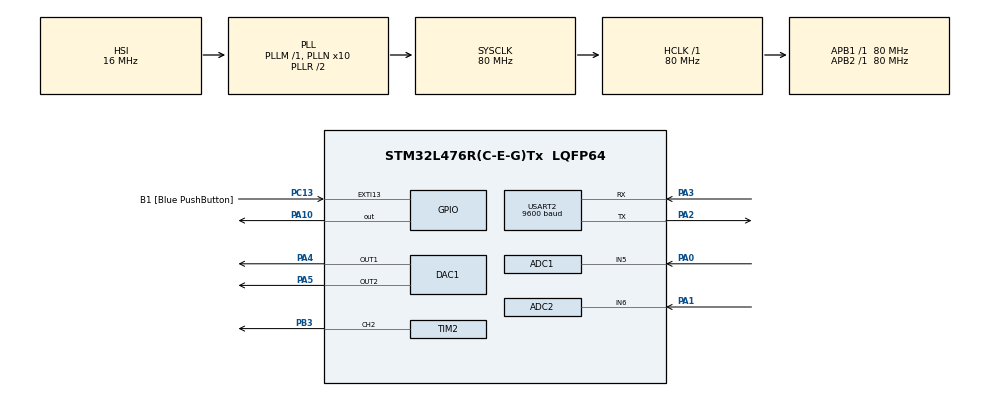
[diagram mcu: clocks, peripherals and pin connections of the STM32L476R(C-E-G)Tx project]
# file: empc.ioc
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ADC1.Channel-0\#ChannelRegularConversion=ADC_CHANNEL_5
ADC1.ContinuousConvMode=ENABLE
ADC1.DMAContinuousRequests=ENABLE
ADC1.NbrOfConversion=1
ADC1.NbrOfConversionFlag=1
ADC1.OffsetNumber-0\#ChannelRegularConversion=ADC_OFFSET_NONE
ADC1.Rank-0\#ChannelRegularConversion=1
ADC1.SamplingTime-0\#ChannelRegularConversion=ADC_SAMPLETIME_92CYCLES_5
ADC1.master=1
ADC2.Channel-0\#ChannelRegularConversion=ADC_CHANNEL_6
ADC2.ContinuousConvMode=ENABLE
ADC2.DMAContinuousRequests=ENABLE
ADC2.NbrOfConversionFlag=1
ADC2.OffsetNumber-0\#ChannelRegularConversion=ADC_OFFSET_NONE
ADC2.Rank-0\#ChannelRegularConversion=1
ADC2.SamplingTime-0\#ChannelRegularConversion=ADC_SAMPLETIME_92CYCLES_5
DAC1.DAC_Channel-DAC_OUT2=DAC_CHANNEL_2
Dma.ADC1.0.Direction=DMA_PERIPH_TO_MEMORY
Dma.ADC1.0.Instance=DMA1_Channel1
Dma.ADC1.0.MemDataAlignment=DMA_MDATAALIGN_HALFWORD
Dma.ADC1.0.MemInc=DMA_MINC_ENABLE
Dma.ADC1.0.Mode=DMA_CIRCULAR
Dma.ADC1.0.PeriphDataAlignment=DMA_PDATAALIGN_HALFWORD
Dma.ADC1.0.PeriphInc=DMA_PINC_DISABLE
Dma.ADC1.0.Priority=DMA_PRIORITY_LOW
Dma.ADC2.1.Direction=DMA_PERIPH_TO_MEMORY
Dma.ADC2.1.Instance=DMA1_Channel2
Dma.ADC2.1.MemDataAlignment=DMA_MDATAALIGN_HALFWORD
Dma.ADC2.1.MemInc=DMA_MINC_ENABLE
Dma.ADC2.1.Mode=DMA_CIRCULAR
Dma.ADC2.1.PeriphDataAlignment=DMA_PDATAALIGN_HALFWORD
Dma.ADC2.1.PeriphInc=DMA_PINC_DISABLE
Dma.ADC2.1.Priority=DMA_PRIORITY_LOW
Dma.Request0=ADC1
Dma.Request1=ADC2
Mcu.Family=STM32L4
Mcu.Name=STM32L476R(C-E-G)Tx
Mcu.Package=LQFP64
NVIC.DMA1_Channel1_IRQn=true\:0\:0\:false\:false\:true\:false\:true
NVIC.DMA1_Channel2_IRQn=true\:0\:0\:false\:false\:true\:false\:true
NVIC.PriorityGroup=NVIC_PRIORITYGROUP_4
NVIC.TIM3_IRQn=true\:0\:0\:false\:false\:true\:true\:true
PA0.Signal=ADCx_IN5
PA1.Signal=ADCx_IN6
PA10.Signal=GPIO_Output
PA13\ (JTMS-SWDIO).GPIO_Label=TMS
PA13\ (JTMS-SWDIO).Mode=Serial_Wire
PA13\ (JTMS-SWDIO).Signal=SYS_JTMS-SWDIO
PA14\ (JTCK-SWCLK).GPIO_Label=TCK
PA14\ (JTCK-SWCLK).Mode=Serial_Wire
PA14\ (JTCK-SWCLK).Signal=SYS_JTCK-SWCLK
PA2.Mode=Asynchronous
PA2.Signal=USART2_TX
PA3.Mode=Asynchronous
PA3.Signal=USART2_RX
PA4.Signal=COMP_DAC11_group
PA5.Signal=COMP_DAC12_group
PB3\ (JTDO-TRACESWO).Signal=S_TIM2_CH2
PC13.GPIO_Label=B1 [Blue PushButton]
PC13.GPIO_ModeDefaultEXTI=GPIO_MODE_IT_FALLING
PC13.GPIO_PuPd=GPIO_NOPULL
PC13.Signal=GPXTI13
PC14-OSC32_IN\ (PC14).Mode=LSE-External-Oscillator
PC14-OSC32_IN\ (PC14).Signal=RCC_OSC32_IN
PC15-OSC32_OUT\ (PC15).Mode=LSE-External-Oscillator
PC15-OSC32_OUT\ (PC15).Signal=RCC_OSC32_OUT
PH0-OSC_IN\ (PH0).Signal=RCC_OSC_IN
PH1-OSC_OUT\ (PH1).Signal=RCC_OSC_OUT
ProjectManager.HeapSize=0x200
ProjectManager.StackSize=0x400
ProjectManager.TargetToolchain=STM32CubeIDE
RCC.ADCFreq_Value=64000000
RCC.AHBFreq_Value=80000000
RCC.APB1Freq_Value=80000000
RCC.APB1TimFreq_Value=80000000
RCC.APB2Freq_Value=80000000
RCC.APB2TimFreq_Value=80000000
RCC.CortexFreq_Value=80000000
RCC.HCLKFreq_Value=80000000
RCC.HSE_VALUE=8000000
RCC.HSI_VALUE=16000000
RCC.MSI_VALUE=4000000
RCC.PLLN=10
RCC.PLLSourceVirtual=RCC_PLLSOURCE_HSI
RCC.PREFETCH_ENABLE=1
RCC.SYSCLKFreq_VALUE=80000000
RCC.SYSCLKSource=RCC_SYSCLKSOURCE_PLLCLK
RCC.USBFreq_Value=64000000
RCC.VCOOutputFreq_Value=160000000
SH.ADCx_IN5.0=ADC1_IN5,IN5-Single-Ended
SH.ADCx_IN6.0=ADC2_IN6,IN6-Single-Ended
SH.COMP_DAC11_group.0=DAC1_OUT1,DAC_OUT1
SH.COMP_DAC12_group.0=DAC1_OUT2,DAC_OUT2
SH.S_TIM2_CH2.0=TIM2_CH2,PWM Generation2 CH2
TIM2.Channel-PWM\ Generation2\ CH2=TIM_CHANNEL_2
TIM2.Period=4000-1
TIM3.Period=100-1
TIM3.Prescaler=80-1
USART2.BaudRate=9600
USART2.VirtualMode-Asynchronous=VM_ASYNC
VP_TIM3_VS_ClockSourceINT.Mode=Internal
board=NUCLEO-L476RG

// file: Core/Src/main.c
/* USER CODE BEGIN Header */
/**
  ******************************************************************************
  * @file           : main.c
  * @brief          : Main program body
  ******************************************************************************
  * @attention
  *
  * <h2><center>&copy; Copyright (c) 2020 STMicroelectronics.
  * All rights reserved.</center></h2>
  *
  * This software component is licensed by ST under BSD 3-Clause license,
  * the "License"; You may not use this file except in compliance with the
  * License. You may obtain a copy of the License at:
  *                        opensource.org/licenses/BSD-3-Clause
  *
  ******************************************************************************
  */
/* USER CODE END Header */

#include "main.h"

/* USER CODE BEGIN Includes */
#include <string.h>
#include <stdio.h>
#include <stdbool.h>
/* USER CODE END Includes */

/* USER CODE BEGIN PD */
#define SIZE 7
#define COUNTER_PERIOD 3999
/* USER CODE END PD */

ADC_HandleTypeDef hadc1;
ADC_HandleTypeDef hadc2;
DMA_HandleTypeDef hdma_adc1;
DMA_HandleTypeDef hdma_adc2;

DAC_HandleTypeDef hdac1;

TIM_HandleTypeDef htim2;
TIM_HandleTypeDef htim3;

UART_HandleTypeDef huart2;

/* USER CODE BEGIN PV */
int u = 0;
const int xs0 = 50;
const int xs1 = 5000;
const int us = 337900;
uint16_t iter = 0;
int x[2] = {0,0};
int y[2] = {0,0};
int x_est[2] = {0,0};
int64_t integral = 0;
bool settled = false;
uint8_t settling_iter = 0;

uint16_t adc_buf0[SIZE];
uint16_t adc_buf1[SIZE];
/* USER CODE END PV */

void SystemClock_Config(void);
static void MX_GPIO_Init(void);
static void MX_DMA_Init(void);
static void MX_USART2_UART_Init(void);
static void MX_ADC1_Init(void);
static void MX_ADC2_Init(void);
static void MX_DAC1_Init(void);
static void MX_TIM2_Init(void);
static void MX_TIM3_Init(void);

/* USER CODE BEGIN 0 */
void swap(int* a, int* b)
{
	int t = *a;
    *a = *b;
    *b = t;
}

int partition (int arr[], int low, int high)
{
	int pivot = arr[high];    // pivot
	int i = (low - 1);  // Index of smaller element

    for (int j = low; j <= high- 1; j++)
    {
        // If current element is smaller than the pivot
        if (arr[j] < pivot)
        {
            i++;    // increment index of smaller element
            swap(&arr[i], &arr[j]);
        }
    }
    swap(&arr[i + 1], &arr[high]);
    return (i + 1);
}

void quickSort(int arr[], int low, int high)
{
    if (low < high)
    {
        /* pi is partitioning index, arr[p] is now
           at right place */
    	int pi = partition(arr, low, high);

        // Separately sort elements before
        // partition and after partition
        quickSort(arr, low, pi - 1);
        quickSort(arr, pi + 1, high);
    }
}

int get_median(int *values){
	int n = sizeof(values)/sizeof(values[0]);
    quickSort(values, 0, n-1);
    return values[SIZE/2];
}

void HAL_TIM_PeriodElapsedCallback(TIM_HandleTypeDef *htim)
{
	if (htim->Instance == htim3.Instance)
    {
		if(iter < 10000){
			iter++;
		}
		else{
			//HAL_GPIO_WritePin(GPIOA,GPIO_PIN_10,GPIO_PIN_SET);
			// State measurement
			int value0[SIZE];
			int value1[SIZE];
			for(uint8_t i = 0; i<SIZE; i++){
				value0[i] = (int)adc_buf0[i];
				value1[i] = (int)adc_buf1[i];
			}
			y[0] = get_median(value0); y[0] *= 1075; y[0] /= 10000;
			y[1] = get_median(value1);   y[1] *= 28900; y[1] /= 10000;

			// State estimate
			int x0_prev = x[0];
			int x1_prev = x[1];
			x_est[0] = 97136*x0_prev - 978*x1_prev + 14878*u;    x_est[0] /= 100000;
			x_est[1] = 173187*x0_prev + 97046*x1_prev + 18083*u; x_est[1] /= 100000;

			// Combination
			int alpha = 1000;
			int alpha_bar = 1000-alpha;
			x[0] = alpha*y[0] + alpha_bar*x_est[0]; x[0] /= 1000;
			x[1] = alpha*y[1] + alpha_bar*x_est[1]; x[1] /= 1000;

			//  Explicit MPC
			int dx0 = x[0] - xs0;
			int dx1 = x[1] - xs1;

			//Region 1
			int H11 = -1000*dx0-49999;              H11 = H11<=0;
			int H12 = -948*dx0+317*dx1-246980;      H12 = H12<=0;
			int H13 = 948*dx0-317*dx1-740942;       H13 = H13<=0;
			int H14 = 997*dx0+69*dx1-64337;         H14 = H14<=0;
			int H15 = -997*dx0-69*dx1-126088;       H15 = H15<=0;
			int H16 = 1000*dx0-150000;              H16 = H16<=0;

			if(H11 && H12 && H13 && H14 && H15 && H16){
				u = -5237*dx0; u -= 366*dx1;
				if(!settled){
					int diff = x[0]-x0_prev;
					if(diff > -100 && diff < 100){
						settling_iter++;
						if(settling_iter == 100){
							settled = true;
						}
					}
					else{
						settling_iter = 0;
					}
				}
				else{
					int error = 5000-y[1];
					integral += error;
					u += 40*integral;
				}
				//HAL_DAC_SetValue(&hdac1, DAC_CHANNEL_1, DAC_ALIGN_12B_R, 0.5/3.3*4095);
			}
			else{
				// Region 5
				int H51 = 998*dx0+70*dx1+126100;  H51 = H51<=0;
				int H52 = -1000*dx0-50000;       H52 = H52<=0;
				int H53 = -1000*dx1-5000000;     H53 = H53<=0;
				int H54 = 1000*dx0-10*dx1-53000;  H54 = H54<=0;
				if(H51 && H52 && H53 && H54){
					u = 662000;
					//HAL_DAC_SetValue(&hdac1, DAC_CHANNEL_1, DAC_ALIGN_12B_R, 2.5/3.3*4095);
				}
				else{
					// Region 3
					int H31 = -1000*dx1-5000000;         H31 = H31<=0;
					int H32 = -1000*dx0+10*dx1+53000;     H32 = H32<=0;
					int H33 = -948*dx0+318*dx1+740900;    H33 = H33<=0;
					int H34 = 1000*dx0-150000;           H34 = H34<=0;
					if(H31 && H32 && H33 && H34){
						u = -6528*dx0; u += 66*dx1; u += 1000000;
						//HAL_DAC_SetValue(&hdac1, DAC_CHANNEL_1, DAC_ALIGN_12B_R, 1.5/3.3*4095);
					}
					else{
						// Region 2
						int H21 = -1000*dx0-50000;          H21 = H21<=0;
						int H22 = 489*dx0+872*dx1-1533900;  H22 = H22<=0;
						int H23 = 1000*dx0-10*dx1-300;      H23 = H23<=0;
						int H24 = 948*dx0-318*dx1+247000;   H24 = H24<=0;
						if(H21 && H22 && H23 && H24){
							u = -6527*dx0; u += 66*dx1;  u -= 335700;
							//HAL_DAC_SetValue(&hdac1, DAC_CHANNEL_1, DAC_ALIGN_12B_R, 1/3.3*4095);
						}
						else{
							// Region 4
							int H41 = 921*dx0+390*dx1-698900;             H41 = H41<=0;
							int H42 = 973*dx0+229*dx1-447200;             H42 = H42<=0;
							int H43 = 988*dx0+157*dx1-354000;             H43 = H43<=0;
							int H44 = -1000*dx0+10*dx1+300;               H43 = H43<=0;
							int H45 = -998*dx0-70*dx1+64300;              H45 = H45<=0;
							int H46 = 1000*dx0-150000;                    H46 = H46<=0;
							if(H41 && H42 && H43 && H44 && H45 && H46){
								u = -338000;
								//HAL_DAC_SetValue(&hdac1, DAC_CHANNEL_1, DAC_ALIGN_12B_R, 2/3.3*4095);
							}
							else{
								// No region found => slow LQR
								u = -4854*dx0; u += 53*dx1;
								//HAL_DAC_SetValue(&hdac1, DAC_CHANNEL_1, DAC_ALIGN_12B_R, 0);
							}
						}
					}
				}
			}
			u += us; u /= 1000;
			int input = u*COUNTER_PERIOD/1000;
			if(input < 0) input = 0;
			if(input > COUNTER_PERIOD) input = COUNTER_PERIOD;
			htim2.Instance->CCR2 = input;
			//HAL_DAC_SetValue(&hdac1, DAC_CHANNEL_1, DAC_ALIGN_12B_R, input*4095/13197);
		}
	}
	//HAL_GPIO_WritePin(GPIOA,GPIO_PIN_10,GPIO_PIN_RESET);
}
/* USER CODE END 0 */

int main(void)
{

  /* MCU Configuration--------------------------------------------------------*/

  /* Reset of all peripherals, Initializes the Flash interface and the Systick. */
  HAL_Init();

  /* Configure the system clock */
  SystemClock_Config();

  /* Initialize all configured peripherals */
  MX_GPIO_Init();
  MX_DMA_Init();
  MX_USART2_UART_Init();
  MX_ADC1_Init();
  MX_ADC2_Init();
  MX_DAC1_Init();
  MX_TIM2_Init();
  MX_TIM3_Init();
  /* USER CODE BEGIN 2 */
  HAL_DAC_Start(&hdac1, DAC_CHANNEL_1);
  HAL_DAC_Start(&hdac1, DAC_CHANNEL_2);
  HAL_ADC_Start_DMA(&hadc2, (uint32_t*)adc_buf0, SIZE);
  HAL_ADC_Start_DMA(&hadc1, (uint32_t*)adc_buf1, SIZE);
  HAL_TIM_Base_Start_IT(&htim3);
  HAL_TIM_PWM_Start(&htim2, TIM_CHANNEL_2);
  htim2.Instance->CCR2 = 0;
  /* USER CODE END 2 */

  /* Infinite loop */
  /* USER CODE BEGIN WHILE */
  //char msg[20];
  while (1)
  {
	  /*if(y[1]>5000){
		  sprintf(msg, "x0 = %d ",x[0]);
		  HAL_UART_Transmit(&huart2,(uint8_t*) msg, strlen(msg), HAL_MAX_DELAY);
		  sprintf(msg, "x1 = %d\r\n",x[1]);
		  HAL_UART_Transmit(&huart2,(uint8_t*) msg, strlen(msg), HAL_MAX_DELAY);
	  }*/

    /* USER CODE END WHILE */

  }
}

void SystemClock_Config(void)
{
  RCC_OscInitTypeDef RCC_OscInitStruct = {0};
  RCC_ClkInitTypeDef RCC_ClkInitStruct = {0};
  RCC_PeriphCLKInitTypeDef PeriphClkInit = {0};

  /** Initializes the CPU, AHB and APB busses clocks
  */
  RCC_OscInitStruct.OscillatorType = RCC_OSCILLATORTYPE_HSI;
  RCC_OscInitStruct.HSIState = RCC_HSI_ON;
  RCC_OscInitStruct.HSICalibrationValue = RCC_HSICALIBRATION_DEFAULT;
  RCC_OscInitStruct.PLL.PLLState = RCC_PLL_ON;
  RCC_OscInitStruct.PLL.PLLSource = RCC_PLLSOURCE_HSI;
  RCC_OscInitStruct.PLL.PLLM = 1;
  RCC_OscInitStruct.PLL.PLLN = 10;
  RCC_OscInitStruct.PLL.PLLP = RCC_PLLP_DIV7;
  RCC_OscInitStruct.PLL.PLLQ = RCC_PLLQ_DIV2;
  RCC_OscInitStruct.PLL.PLLR = RCC_PLLR_DIV2;
  if (HAL_RCC_OscConfig(&RCC_OscInitStruct) != HAL_OK)
  {
    Error_Handler();
  }
  /** Initializes the CPU, AHB and APB busses clocks
  */
  RCC_ClkInitStruct.ClockType = RCC_CLOCKTYPE_HCLK|RCC_CLOCKTYPE_SYSCLK
                              |RCC_CLOCKTYPE_PCLK1|RCC_CLOCKTYPE_PCLK2;
  RCC_ClkInitStruct.SYSCLKSource = RCC_SYSCLKSOURCE_PLLCLK;
  RCC_ClkInitStruct.AHBCLKDivider = RCC_SYSCLK_DIV1;
  RCC_ClkInitStruct.APB1CLKDivider = RCC_HCLK_DIV1;
  RCC_ClkInitStruct.APB2CLKDivider = RCC_HCLK_DIV1;

  if (HAL_RCC_ClockConfig(&RCC_ClkInitStruct, FLASH_LATENCY_4) != HAL_OK)
  {
    Error_Handler();
  }
  PeriphClkInit.PeriphClockSelection = RCC_PERIPHCLK_USART2|RCC_PERIPHCLK_ADC;
  PeriphClkInit.Usart2ClockSelection = RCC_USART2CLKSOURCE_PCLK1;
  PeriphClkInit.AdcClockSelection = RCC_ADCCLKSOURCE_PLLSAI1;
  PeriphClkInit.PLLSAI1.PLLSAI1Source = RCC_PLLSOURCE_HSI;
  PeriphClkInit.PLLSAI1.PLLSAI1M = 1;
  PeriphClkInit.PLLSAI1.PLLSAI1N = 8;
  PeriphClkInit.PLLSAI1.PLLSAI1P = RCC_PLLP_DIV7;
  PeriphClkInit.PLLSAI1.PLLSAI1Q = RCC_PLLQ_DIV2;
  PeriphClkInit.PLLSAI1.PLLSAI1R = RCC_PLLR_DIV2;
  PeriphClkInit.PLLSAI1.PLLSAI1ClockOut = RCC_PLLSAI1_ADC1CLK;
  if (HAL_RCCEx_PeriphCLKConfig(&PeriphClkInit) != HAL_OK)
  {
    Error_Handler();
  }
  /** Configure the main internal regulator output voltage
  */
  if (HAL_PWREx_ControlVoltageScaling(PWR_REGULATOR_VOLTAGE_SCALE1) != HAL_OK)
  {
    Error_Handler();
  }
}

static void MX_ADC1_Init(void)
{

  ADC_MultiModeTypeDef multimode = {0};
  ADC_ChannelConfTypeDef sConfig = {0};

  /** Common config
  */
  hadc1.Instance = ADC1;
  hadc1.Init.ClockPrescaler = ADC_CLOCK_ASYNC_DIV1;
  hadc1.Init.Resolution = ADC_RESOLUTION_12B;
  hadc1.Init.DataAlign = ADC_DATAALIGN_RIGHT;
  hadc1.Init.ScanConvMode = ADC_SCAN_DISABLE;
  hadc1.Init.EOCSelection = ADC_EOC_SINGLE_CONV;
  hadc1.Init.LowPowerAutoWait = DISABLE;
  hadc1.Init.ContinuousConvMode = ENABLE;
  hadc1.Init.NbrOfConversion = 1;
  hadc1.Init.DiscontinuousConvMode = DISABLE;
  hadc1.Init.NbrOfDiscConversion = 1;
  hadc1.Init.ExternalTrigConv = ADC_SOFTWARE_START;
  hadc1.Init.ExternalTrigConvEdge = ADC_EXTERNALTRIGCONVEDGE_NONE;
  hadc1.Init.DMAContinuousRequests = ENABLE;
  hadc1.Init.Overrun = ADC_OVR_DATA_PRESERVED;
  hadc1.Init.OversamplingMode = DISABLE;
  if (HAL_ADC_Init(&hadc1) != HAL_OK)
  {
    Error_Handler();
  }
  /** Configure the ADC multi-mode
  */
  multimode.Mode = ADC_MODE_INDEPENDENT;
  if (HAL_ADCEx_MultiModeConfigChannel(&hadc1, &multimode) != HAL_OK)
  {
    Error_Handler();
  }
  /** Configure Regular Channel
  */
  sConfig.Channel = ADC_CHANNEL_5;
  sConfig.Rank = ADC_REGULAR_RANK_1;
  sConfig.SamplingTime = ADC_SAMPLETIME_92CYCLES_5;
  sConfig.SingleDiff = ADC_SINGLE_ENDED;
  sConfig.OffsetNumber = ADC_OFFSET_NONE;
  sConfig.Offset = 0;
  if (HAL_ADC_ConfigChannel(&hadc1, &sConfig) != HAL_OK)
  {
    Error_Handler();
  }

}

static void MX_ADC2_Init(void)
{

  ADC_ChannelConfTypeDef sConfig = {0};

  /** Common config
  */
  hadc2.Instance = ADC2;
  hadc2.Init.ClockPrescaler = ADC_CLOCK_ASYNC_DIV1;
  hadc2.Init.Resolution = ADC_RESOLUTION_12B;
  hadc2.Init.DataAlign = ADC_DATAALIGN_RIGHT;
  hadc2.Init.ScanConvMode = ADC_SCAN_DISABLE;
  hadc2.Init.EOCSelection = ADC_EOC_SINGLE_CONV;
  hadc2.Init.LowPowerAutoWait = DISABLE;
  hadc2.Init.ContinuousConvMode = ENABLE;
  hadc2.Init.NbrOfConversion = 1;
  hadc2.Init.DiscontinuousConvMode = DISABLE;
  hadc2.Init.NbrOfDiscConversion = 1;
  hadc2.Init.ExternalTrigConv = ADC_SOFTWARE_START;
  hadc2.Init.ExternalTrigConvEdge = ADC_EXTERNALTRIGCONVEDGE_NONE;
  hadc2.Init.DMAContinuousRequests = ENABLE;
  hadc2.Init.Overrun = ADC_OVR_DATA_PRESERVED;
  hadc2.Init.OversamplingMode = DISABLE;
  if (HAL_ADC_Init(&hadc2) != HAL_OK)
  {
    Error_Handler();
  }
  /** Configure Regular Channel
  */
  sConfig.Channel = ADC_CHANNEL_6;
  sConfig.Rank = ADC_REGULAR_RANK_1;
  sConfig.SamplingTime = ADC_SAMPLETIME_92CYCLES_5;
  sConfig.SingleDiff = ADC_SINGLE_ENDED;
  sConfig.OffsetNumber = ADC_OFFSET_NONE;
  sConfig.Offset = 0;
  if (HAL_ADC_ConfigChannel(&hadc2, &sConfig) != HAL_OK)
  {
    Error_Handler();
  }

}

static void MX_DAC1_Init(void)
{

  DAC_ChannelConfTypeDef sConfig = {0};

  /** DAC Initialization
  */
  hdac1.Instance = DAC1;
  if (HAL_DAC_Init(&hdac1) != HAL_OK)
  {
    Error_Handler();
  }
  /** DAC channel OUT1 config
  */
  sConfig.DAC_SampleAndHold = DAC_SAMPLEANDHOLD_DISABLE;
  sConfig.DAC_Trigger = DAC_TRIGGER_NONE;
  sConfig.DAC_OutputBuffer = DAC_OUTPUTBUFFER_ENABLE;
  sConfig.DAC_ConnectOnChipPeripheral = DAC_CHIPCONNECT_DISABLE;
  sConfig.DAC_UserTrimming = DAC_TRIMMING_FACTORY;
  if (HAL_DAC_ConfigChannel(&hdac1, &sConfig, DAC_CHANNEL_1) != HAL_OK)
  {
    Error_Handler();
  }
  /** DAC channel OUT2 config
  */
  sConfig.DAC_ConnectOnChipPeripheral = DAC_CHIPCONNECT_DISABLE;
  if (HAL_DAC_ConfigChannel(&hdac1, &sConfig, DAC_CHANNEL_2) != HAL_OK)
  {
    Error_Handler();
  }

}

static void MX_TIM2_Init(void)
{

  TIM_MasterConfigTypeDef sMasterConfig = {0};
  TIM_OC_InitTypeDef sConfigOC = {0};

  htim2.Instance = TIM2;
  htim2.Init.Prescaler = 0;
  htim2.Init.CounterMode = TIM_COUNTERMODE_UP;
  htim2.Init.Period = 4000-1;
  htim2.Init.ClockDivision = TIM_CLOCKDIVISION_DIV1;
  htim2.Init.AutoReloadPreload = TIM_AUTORELOAD_PRELOAD_DISABLE;
  if (HAL_TIM_PWM_Init(&htim2) != HAL_OK)
  {
    Error_Handler();
  }
  sMasterConfig.MasterOutputTrigger = TIM_TRGO_RESET;
  sMasterConfig.MasterSlaveMode = TIM_MASTERSLAVEMODE_DISABLE;
  if (HAL_TIMEx_MasterConfigSynchronization(&htim2, &sMasterConfig) != HAL_OK)
  {
    Error_Handler();
  }
  sConfigOC.OCMode = TIM_OCMODE_PWM1;
  sConfigOC.Pulse = 0;
  sConfigOC.OCPolarity = TIM_OCPOLARITY_HIGH;
  sConfigOC.OCFastMode = TIM_OCFAST_DISABLE;
  if (HAL_TIM_PWM_ConfigChannel(&htim2, &sConfigOC, TIM_CHANNEL_2) != HAL_OK)
  {
    Error_Handler();
  }
  HAL_TIM_MspPostInit(&htim2);

}

static void MX_TIM3_Init(void)
{

  TIM_ClockConfigTypeDef sClockSourceConfig = {0};
  TIM_MasterConfigTypeDef sMasterConfig = {0};

  htim3.Instance = TIM3;
  htim3.Init.Prescaler = 80-1;
  htim3.Init.CounterMode = TIM_COUNTERMODE_UP;
  htim3.Init.Period = 100-1;
  htim3.Init.ClockDivision = TIM_CLOCKDIVISION_DIV1;
  htim3.Init.AutoReloadPreload = TIM_AUTORELOAD_PRELOAD_DISABLE;
  if (HAL_TIM_Base_Init(&htim3) != HAL_OK)
  {
    Error_Handler();
  }
  sClockSourceConfig.ClockSource = TIM_CLOCKSOURCE_INTERNAL;
  if (HAL_TIM_ConfigClockSource(&htim3, &sClockSourceConfig) != HAL_OK)
  {
    Error_Handler();
  }
  sMasterConfig.MasterOutputTrigger = TIM_TRGO_RESET;
  sMasterConfig.MasterSlaveMode = TIM_MASTERSLAVEMODE_DISABLE;
  if (HAL_TIMEx_MasterConfigSynchronization(&htim3, &sMasterConfig) != HAL_OK)
  {
    Error_Handler();
  }

}

static void MX_USART2_UART_Init(void)
{

  huart2.Instance = USART2;
  huart2.Init.BaudRate = 9600;
  huart2.Init.WordLength = UART_WORDLENGTH_8B;
  huart2.Init.StopBits = UART_STOPBITS_1;
  huart2.Init.Parity = UART_PARITY_NONE;
  huart2.Init.Mode = UART_MODE_TX_RX;
  huart2.Init.HwFlowCtl = UART_HWCONTROL_NONE;
  huart2.Init.OverSampling = UART_OVERSAMPLING_16;
  huart2.Init.OneBitSampling = UART_ONE_BIT_SAMPLE_DISABLE;
  huart2.AdvancedInit.AdvFeatureInit = UART_ADVFEATURE_NO_INIT;
  if (HAL_UART_Init(&huart2) != HAL_OK)
  {
    Error_Handler();
  }

}

static void MX_DMA_Init(void)
{

  /* DMA controller clock enable */
  __HAL_RCC_DMA1_CLK_ENABLE();

  /* DMA interrupt init */
  /* DMA1_Channel1_IRQn interrupt configuration */
  HAL_NVIC_SetPriority(DMA1_Channel1_IRQn, 0, 0);
  HAL_NVIC_EnableIRQ(DMA1_Channel1_IRQn);
  /* DMA1_Channel2_IRQn interrupt configuration */
  HAL_NVIC_SetPriority(DMA1_Channel2_IRQn, 0, 0);
  HAL_NVIC_EnableIRQ(DMA1_Channel2_IRQn);

}

static void MX_GPIO_Init(void)
{
  GPIO_InitTypeDef GPIO_InitStruct = {0};

  /* GPIO Ports Clock Enable */
  __HAL_RCC_GPIOC_CLK_ENABLE();
  __HAL_RCC_GPIOH_CLK_ENABLE();
  __HAL_RCC_GPIOA_CLK_ENABLE();
  __HAL_RCC_GPIOB_CLK_ENABLE();

  /*Configure GPIO pin Output Level */
  HAL_GPIO_WritePin(GPIOA, GPIO_PIN_10, GPIO_PIN_RESET);

  /*Configure GPIO pin : B1_Pin */
  GPIO_InitStruct.Pin = B1_Pin;
  GPIO_InitStruct.Mode = GPIO_MODE_IT_FALLING;
  GPIO_InitStruct.Pull = GPIO_NOPULL;
  HAL_GPIO_Init(B1_GPIO_Port, &GPIO_InitStruct);

  /*Configure GPIO pin : PA10 */
  GPIO_InitStruct.Pin = GPIO_PIN_10;
  GPIO_InitStruct.Mode = GPIO_MODE_OUTPUT_PP;
  GPIO_InitStruct.Pull = GPIO_NOPULL;
  GPIO_InitStruct.Speed = GPIO_SPEED_FREQ_LOW;
  HAL_GPIO_Init(GPIOA, &GPIO_InitStruct);

}

void Error_Handler(void)
{
}

/************************ (C) COPYRIGHT STMicroelectronics *****END OF FILE****/
